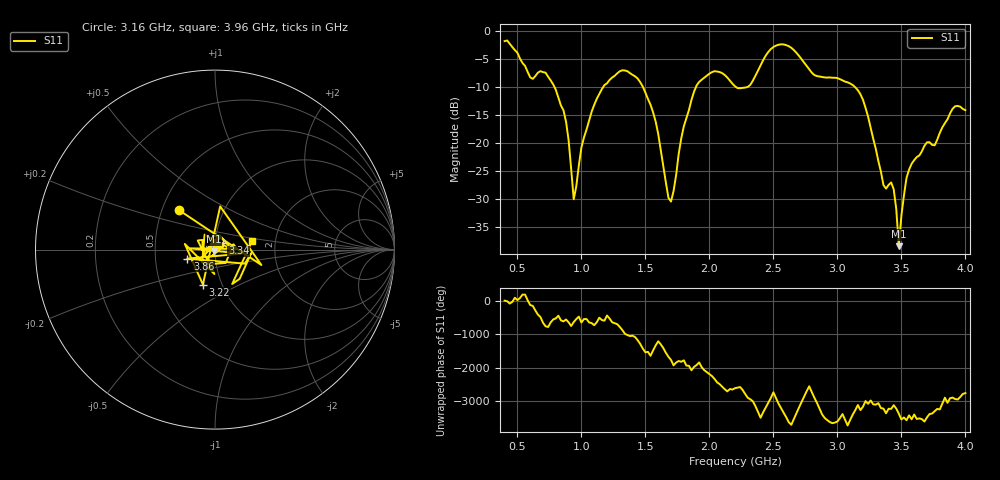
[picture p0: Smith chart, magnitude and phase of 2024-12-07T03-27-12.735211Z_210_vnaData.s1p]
!Created with skrf (http://scikit-rf.org).
# Hz S RI R 50.0
!freq ReS11 ImS11
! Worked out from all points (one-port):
!   181 points, 400 MHz to 4 GHz, reference 50 ohm
!   lowest |S11| = -38.5 dB at 3.48 GHz (marker M1), VSWR 1.02, Z = 49.3 - j0.962 ohm
!   |S11| at or under -10 dB: 789.7 MHz to 1.17 GHz (380.5 MHz wide, 38.8 % of centre); 1.481 GHz to 1.895 GHz (413.9 MHz wide, 24.5 % of centre); 3.137 GHz to end of sweep (the widest 3 of 4)
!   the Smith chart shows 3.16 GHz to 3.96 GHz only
!   S11 on the Smith chart (normalised r, x): 3.16 GHz: 0.61, +0.29; 3.22 GHz: 0.81, -0.33; 3.34 GHz: 1.09, +0.08; 3.86 GHz: 0.73, -0.08; 3.96 GHz: 1.51, +0.15
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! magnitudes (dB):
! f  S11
! 400 MHz  -1.8
! 600 MHz  -8.3
! 720 MHz  -7.4
! 860 MHz  -14.2
! 900 MHz  -19.5
! 940 MHz  -30.1
! 1 GHz  -20.8
! 1.08 GHz  -14.4
! 1.3 GHz  -7.2
! 1.54 GHz  -13.2
! 1.7 GHz  -30.5
! 1.76 GHz  -22.0
! 1.92 GHz  -9.1
! 2.2 GHz  -9.9
! 2.32 GHz  -9.6
! 2.5 GHz  -2.8
! 2.66 GHz  -3.4
! 2.82 GHz  -7.9
! 3.1 GHz  -9.4
! 3.16 GHz  -10.6
! 3.22 GHz  -13.7
! 3.34 GHz  -25.1
! 3.44 GHz  -28.3
! 3.48 GHz  -38.5
! 3.56 GHz  -24.8
! 3.86 GHz  -15.8
! 3.96 GHz  -13.5
! 4 GHz  -14.1
